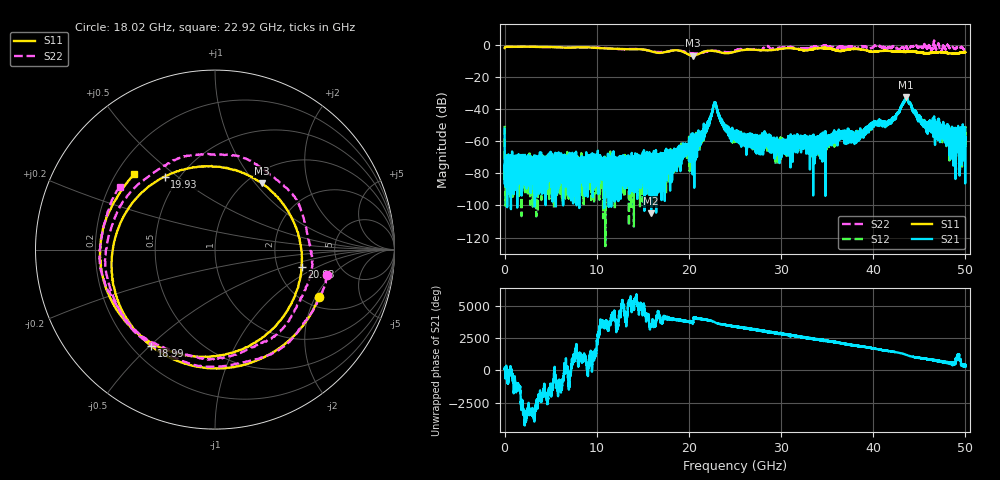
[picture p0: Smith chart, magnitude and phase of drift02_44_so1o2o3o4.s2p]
!Created with skrf (http://scikit-rf.org).
# Hz S RI R 50.0
!freq ReS11 ImS11 ReS21 ImS21 ReS12 ImS12 ReS22 ImS22
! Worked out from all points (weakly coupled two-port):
!   10001 points, 300 kHz to 50 GHz, reference 50 ohm
!   highest |S21| = -32.69 dB at 43.59 GHz (marker M1); lowest = -104.9 dB at 15.91 GHz (marker M2)
!   lowest |S11| = -6.9 dB at 20.43 GHz (marker M3), VSWR 2.64, Z = 58.3 + j53.9 ohm
!   |S11| at or under -10 dB: nowhere
!   |S22| runs from -5.7 to 2.5 dB; largest |S21 - S12| = 0.0034
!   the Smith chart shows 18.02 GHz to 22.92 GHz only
!   S11 on the Smith chart (normalised r, x): 18.02 GHz: 2.43, -2.13; 18.99 GHz: 0.28, -0.51; 19.93 GHz: 0.42, +0.45; 20.93 GHz: 2.75, -0.68; 22.92 GHz: 0.27, +0.37
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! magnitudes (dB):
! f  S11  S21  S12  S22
! 300 kHz  -2.1  -52.4  -50.5  -2.1
! 310.3 MHz  -1.4  -77.4  -78.2  -1.4
! 8.335 GHz  -1.7  -70.1  -75.2  -1.9
! 15.91 GHz  -4.2  -104.9  -78.9  -4.1
! 16.67 GHz  -5.2  -79.4  -68.4  -4.7
! 18.02 GHz  -3.9  -67.8  -69.0  -3.9
! 18.99 GHz  -3.8  -69.4  -65.3  -3.9
! 19.93 GHz  -6.1  -61.7  -61.6  -5.2
! 20.43 GHz  -6.9  -55.2  -62.0  -5.4
! 20.93 GHz  -6.2  -60.4  -57.1  -5.7
! 22.92 GHz  -4.2  -37.0  -37.4  -3.9
! 23.77 GHz  -5.3  -51.2  -49.6  -4.6
! 25 GHz  -4.5  -55.1  -55.4  -3.9
! 29.59 GHz  -3.0  -61.5  -61.5  -2.1
! 33.34 GHz  -3.0  -60.9  -64.3  -1.5
! 38.19 GHz  -2.8  -55.2  -57.6  -2.3
! 40.33 GHz  -4.3  -49.0  -48.9  -0.9
! 41.67 GHz  -4.0  -48.7  -48.7  -1.9
! 43.59 GHz  -4.6  -32.7  -33.4  -1.4
! 45.63 GHz  -5.3  -49.0  -48.9  0.1
! 48.5 GHz  -5.6  -57.3  -62.7  -1.5
! 50 GHz  -4.7  -58.8  -56.1  -2.7
